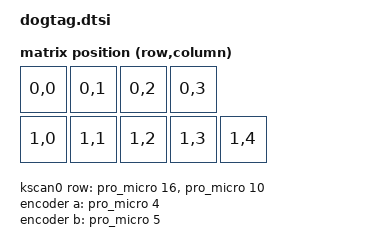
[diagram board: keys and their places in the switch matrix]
/*
 * Copyright (c) 2026 The ZMK Contributors
 * SPDX-License-Identifier: MIT
 */

#include <dt-bindings/zmk/matrix_transform.h>

/ {
    chosen {
        zmk,kscan = &kscan0;
        zmk,matrix-transform = &default_transform;
    };

    default_transform: keymap_transform {
        compatible = "zmk,matrix-transform";
        columns = <5>;
        rows = <2>;
        /* Nine switches on the single DogTag PCB. */
        map = <
            RC(0,0) RC(0,1) RC(0,2) RC(0,3)
            RC(1,0) RC(1,1) RC(1,2) RC(1,3) RC(1,4)
        >;
    };

    kscan0: kscan {
        compatible = "zmk,kscan-gpio-matrix";
        wakeup-source;
        diode-direction = "col2row";
        /* QMK B2, B6 */
        row-gpios = <&pro_micro 16 (GPIO_ACTIVE_HIGH | GPIO_PULL_DOWN)>,
                    <&pro_micro 10 (GPIO_ACTIVE_HIGH | GPIO_PULL_DOWN)>;
    };

    encoder: encoder {
        compatible = "alps,ec11";
        /* QMK D4, C6 */
        a-gpios = <&pro_micro 4 (GPIO_ACTIVE_HIGH | GPIO_PULL_UP)>;
        b-gpios = <&pro_micro 5 (GPIO_ACTIVE_HIGH | GPIO_PULL_UP)>;
        steps = <80>;
    };

    sensors: sensors {
        compatible = "zmk,keymap-sensors";
        sensors = <&encoder>;
        triggers-per-rotation = <20>;
    };
};
